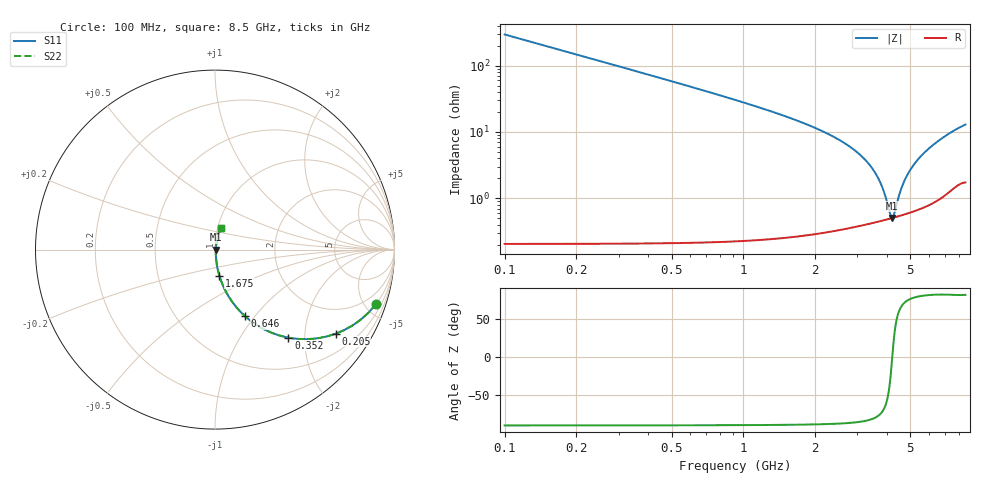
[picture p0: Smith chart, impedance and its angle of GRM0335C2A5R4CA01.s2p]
!Murata Part Number: GRM0335C2A5R4CA01
!These Parameters are Measured in Series Mode Connection
!Data Generated on Mar 30, 2021
!  o--ll--o
!Port1  Port2
!  o------o
!Operation Temp=25[degC], DC Bias Voltage=0[V]
!Freq. Start=100[MHz] Stop=9[GHz] 401[Steps]
# Hz S RI R 50
!Freq.(Hz) S11(Real) S11(Imag) S21(Real) S21(Imag) S12(Real) S12(Imag) S22(Real) S22(Imag)
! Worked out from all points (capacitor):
!   401 points, 100 MHz to 8.5 GHz, reference 50 ohm
!   read as one part in series: C = 5.4 pF near 142 MHz
!   lowest |Z| = 504 mohm at 4.195 GHz (marker M1)
!   series resonance near 4.199 GHz, so ESL is about 270 pH
!   S11 on the Smith chart (normalised r, x): 100 MHz: 1.00, -5.89; 205 MHz: 1.00, -2.87; 352 MHz: 1.00, -1.66; 646 MHz: 1.00, -0.89; 1.675 GHz: 1.01, -0.30; 8.5 GHz: 1.03, +0.26
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1e8  0.8965 -0.3043  0.1035 0.3043  0.1035 0.3043  0.8965 -0.3043
2.05e8  0.6727 -0.4685  0.3273 0.4685  0.3273 0.4685  0.6727 -0.4685
3.52e8  0.409 -0.4904  0.591 0.4904  0.591 0.4904  0.409 -0.4904
4.78e8  0.2711 -0.4428  0.7289 0.4428  0.7289 0.4428  0.2711 -0.4428
6.46e8  0.1669 -0.3705  0.8331 0.3705  0.8331 0.3705  0.1669 -0.3705
9.82e8  0.0765 -0.2618  0.9235 0.2618  0.9235 0.2618  0.0765 -0.2618
1.507e9  0.0307 -0.1654  0.9693 0.1654  0.9693 0.1654  0.0307 -0.1654
1.675e9  0.0241 -0.1447  0.9759 0.1447  0.9759 0.1447  0.0241 -0.1447
2.914e9  0.00647 -0.0528  0.9935 0.0528  0.9935 0.0528  0.00647 -0.0528
3.334e9  0.00518 -0.0331  0.9948 0.0331  0.9948 0.0331  0.00518 -0.0331
3.649e9  0.00481 -0.0202  0.9952 0.0202  0.9952 0.0202  0.00481 -0.0202
3.88e9  0.00479 -0.0114  0.9952 0.0114  0.9952 0.0114  0.00479 -0.0114
4.132e9  0.00495 -0.00232  0.9951 0.00232  0.9951 0.00232  0.00495 -0.00232
4.195e9  0.00502 -0.000134  0.995 0.000134  0.995 0.000134  0.00502 -0.000134
4.3e9  0.00515 0.00345  0.9948 -0.00345  0.9948 -0.00345  0.00515 0.00345
4.552e9  0.00559 0.0118  0.9944 -0.0118  0.9944 -0.0118  0.00559 0.0118
4.825e9  0.00623 0.0205  0.9938 -0.0205  0.9938 -0.0205  0.00623 0.0205
5.203e9  0.00739 0.032  0.9926 -0.032  0.9926 -0.032  0.00739 0.032
5.707e9  0.00945 0.0469  0.9906 -0.0469  0.9906 -0.0469  0.00945 0.0469
6.337e9  0.013 0.065  0.987 -0.065  0.987 -0.065  0.013 0.065
7.114e9  0.0192 0.0867  0.9808 -0.0867  0.9808 -0.0867  0.0192 0.0867
8.5e9  0.0324 0.1219  0.9676 -0.1219  0.9676 -0.1219  0.0324 0.1219
